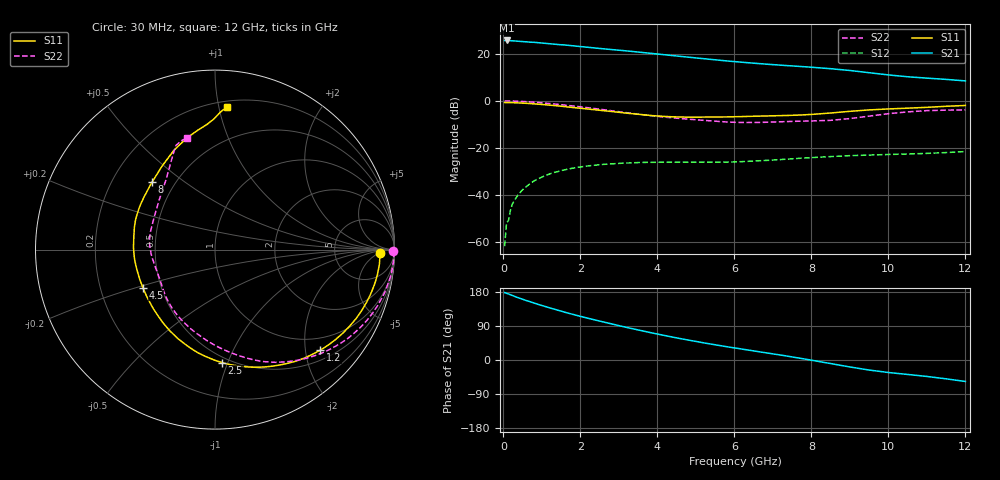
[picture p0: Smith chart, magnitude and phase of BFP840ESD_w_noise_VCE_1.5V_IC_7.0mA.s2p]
! Infineon Technologies  Discrete & RF Semiconductors
! BFP840ESD
! VCE =  1.5 V,  IC =  7.0 mA
! Common Emitter S-Parameters:  May 2012
# GHz  S  MA  R  50
!  f  S11  S21  S12  S22
! GHz  MAG  ANG  MAG  ANG  MAG  ANG  MAG  ANG
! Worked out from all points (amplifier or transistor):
!   93 points, 30 MHz to 12 GHz, reference 50 ohm
!   highest |S21| = 25.7 dB at 80 MHz (marker M1)
!   |S21| within 3 dB of that: start of sweep to 2.253 GHz
!   unconditionally stable (mu >= 1): 5.761 GHz to 10.12 GHz
!   at 1.1 GHz: K = 0.21, MSG = 28.1 dB, |S12| = -31.8 dB
!   at 4.2 GHz: K = 0.71, MSG = 22.9 dB, |S12| = -26.1 dB
!   at 12 GHz: K = 0.72, MSG = 15.1 dB, |S12| = -21.6 dB
!   lowest NFmin = 0.68 dB at 450 MHz
!   S11 on the Smith chart (normalised r, x): 30 MHz: 23, -5; 1.2 GHz: 0.71, -2.31; 2.5 GHz: 0.46, -0.95; 4.5 GHz: 0.39, -0.21; 8 GHz: 0.37, +0.38; 12 GHz: 0.24, +1.06
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0.03  0.9209 -1.1  19.3 177.9  0.0008 84.9  0.9932 -0.6
0.08  0.9195 -3.0  19.38 176.1  0.0025 84.9  0.997 -2.3
0.33  0.9088 -12.6  18.8 166.3  0.0086 81.0  0.9848 -10.5
0.6  0.8853 -22.5  18.08 156.6  0.015 73.3  0.9588 -18.9
0.9  0.8504 -33.3  17.39 146.9  0.0219 66.2  0.9212 -27.7
1.2  0.811 -43.7  16.48 137.7  0.0277 59.1  0.8765 -36.1
1.6  0.7517 -57.5  15.51 125.9  0.034 50.5  0.811 -46.8
2.1  0.6817 -73.7  14.11 112.6  0.0401 41.8  0.7293 -59.2
2.5  0.6307 -86.4  13.1 102.7  0.0435 35.3  0.6652 -68.6
2.9  0.5825 -99.4  12.21 93.1  0.0459 30.1  0.6019 -77.9
3.3  0.5372 -112.6  11.39 83.7  0.0475 25.6  0.546 -87.5
3.7  0.4991 -125.8  10.56 74.9  0.0488 21.6  0.4975 -97.5
4.1  0.47 -139.3  9.765 66.4  0.0494 18.4  0.4581 -107.9
4.5  0.4548 -152.2  9.039 58.3  0.0494 15.8  0.4272 -117.9
5.2  0.4509 -172.2  7.922 45.3  0.0495 13.0  0.3845 -133.9
6.1  0.46 168.7  6.754 30.4  0.0504 13.0  0.3477 -153.8
7.2  0.4847 149.0  5.77 13.0  0.0561 12.3  0.3581 -178.1
8  0.5139 133.0  5.207 -0.5  0.0617 9.5  0.373 164.6
8.5  0.5508 122.4  4.845 -9.4  0.0649 7.0  0.3845 151.7
9.5  0.6414 104.2  3.979 -26.5  0.0699 0.9  0.4723 125.5
10.5  0.6985 93.7  3.261 -38.1  0.0737 -4.1  0.5818 113.6
12  0.7975 85.2  2.662 -56.7  0.0831 -10.2  0.6429 103.9
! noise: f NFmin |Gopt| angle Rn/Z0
0.45  0.68  0.39  1  0.16
0.9  0.7  0.39  5  0.15
1.5  0.71  0.38  13  0.15
1.9  0.73  0.38  17  0.14
2.4  0.74  0.33  28  0.13
3.5  0.77  0.24  56  0.11
5.5  0.86  0.16  126  0.1
8  1.02  0.31  -139  0.09
10  1.18  0.47  -97  0.16
12  1.39  0.59  -75  0.26
